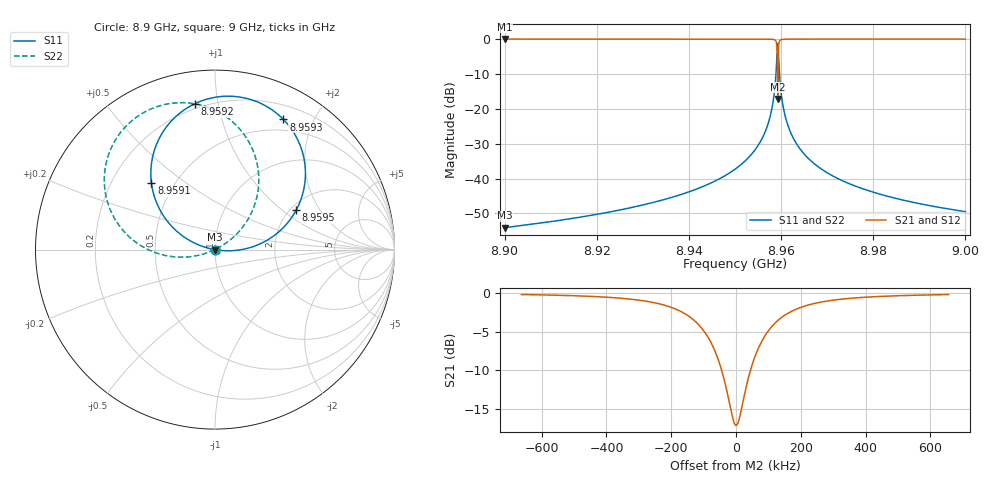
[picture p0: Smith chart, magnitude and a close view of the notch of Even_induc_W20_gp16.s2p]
! Sonnet Data File
! From: emgraph Version : 16.52
! From Project: Resonator2_cp
! Data is De-embedded
! Data File Written: 10/09/2017 00:47:18
!< HDATE 10/08/2017 10:09:33
!< MDATE 10/08/2017 10:09:33
!< PARAMS
!< Length = 400.0
!< Pwid1 = 2000.0
!< Pwid2 = 2000.0
!< Air_gap = 12.0
!< Width = 20.0
!< gap = 16.0
!< END PARAMS
# GHZ S MA R 51.00000
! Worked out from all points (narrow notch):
!   1596 points, 8.9 GHz to 9 GHz, reference 51 ohm
!   highest |S21| = 0.00 dB at 8.9 GHz (marker M1); lowest = -17.1 dB at 8.9593 GHz (marker M2)
!   notch at M2: 17.1 dB deep, 111 kHz wide at half that depth
!   lowest |S11| = -54.1 dB at 8.9 GHz (marker M3), VSWR 1.00, Z = 50.8 + j0.0114 ohm
!   |S11| at or under -10 dB: start of sweep to 8.9589 GHz; 8.959646 GHz to end of sweep
!   |S22| runs from -54.1 to -1.3 dB; largest |S21 - S12| = 0
!   S11 on the Smith chart (normalised r, x): 8.9 GHz: 1.00, +0.00; 8.9591 GHz: 0.37, +0.38; 8.9592 GHz: 0.17, +0.86; 8.9593 GHz: 0.36, +1.60; 8.9595 GHz: 2.15, +1.25; 9 GHz: 1.01, -0.00
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8.9  0.00198 176.8  1 -81.6  1 -81.6  0.001979 -160.2
!< P1 F=8.9 Eeff=(6.44624956 -2.9718e-5) Z0=(50.9071399 1.17454e-4) R=0.0 C=0.0
!< P2 F=8.9 Eeff=(6.44624956 -2.9718e-5) Z0=(50.9071399 1.17454e-4) R=0.0 C=0.0
8.9167  0.002822 174.7  1 -81.8  1 -81.8  0.002821 -158.5
8.9334  0.004758 172.7  1 -82.1  1 -82.1  0.004757 -157.0
8.95  0.01362 170.3  0.9999 -82.8  0.9999 -82.8  0.01362 -156.1
8.9541  0.02457 169.1  0.9996 -83.4  0.9996 -83.4  0.02457 -156.4
8.956698  0.04954 167.2  0.9984 -84.9  0.9984 -84.9  0.04954 -157.9
8.9583  0.1305 161.6  0.9887 -89.5  0.9887 -89.5  0.1305 -163.1
8.958793  0.2566 152.9  0.9554 -96.9  0.9554 -96.9  0.2566 -171.7
8.959068  0.5123 133.7  0.808 -112.7  0.808 -112.7  0.5123 169.1
8.959161  0.6967 116.2  0.5983 -125.2  0.5983 -125.2  0.6967 151.6
8.959221  0.8204 97.9  0.3312 -130.8  0.3312 -130.8  0.8204 133.3
8.959269  0.861 80.2  0.1389 -81.9  0.1389 -81.9  0.8611 115.6
8.959317  0.8191 62.2  0.3356 -33.2  0.3356 -33.2  0.8192 97.7
8.959376  0.698 44.3  0.5965 -38.8  0.5965 -38.8  0.6981 79.8
8.959476  0.5018 25.8  0.8168 -52.1  0.8168 -52.1  0.5018 61.3
8.959628  0.3299 12.7  0.9253 -62.8  0.9253 -62.8  0.33 48.2
8.959909  0.1949 3.2  0.9746 -70.8  0.9746 -70.8  0.195 38.8
8.961403  0.06006 -6.0  0.9976 -78.6  0.9976 -78.6  0.06007 29.8
8.9635  0.03045 -8.2  0.9994 -80.4  0.9994 -80.4  0.03045 28.0
8.9667  0.01743 -9.4  0.9998 -81.1  0.9998 -81.1  0.01744 27.5
8.9834  0.005516 -11.8  1 -82.0  1 -82.0  0.005517 28.1
9  0.003358 -13.6  1 -82.2  1 -82.2  0.00336 29.2
